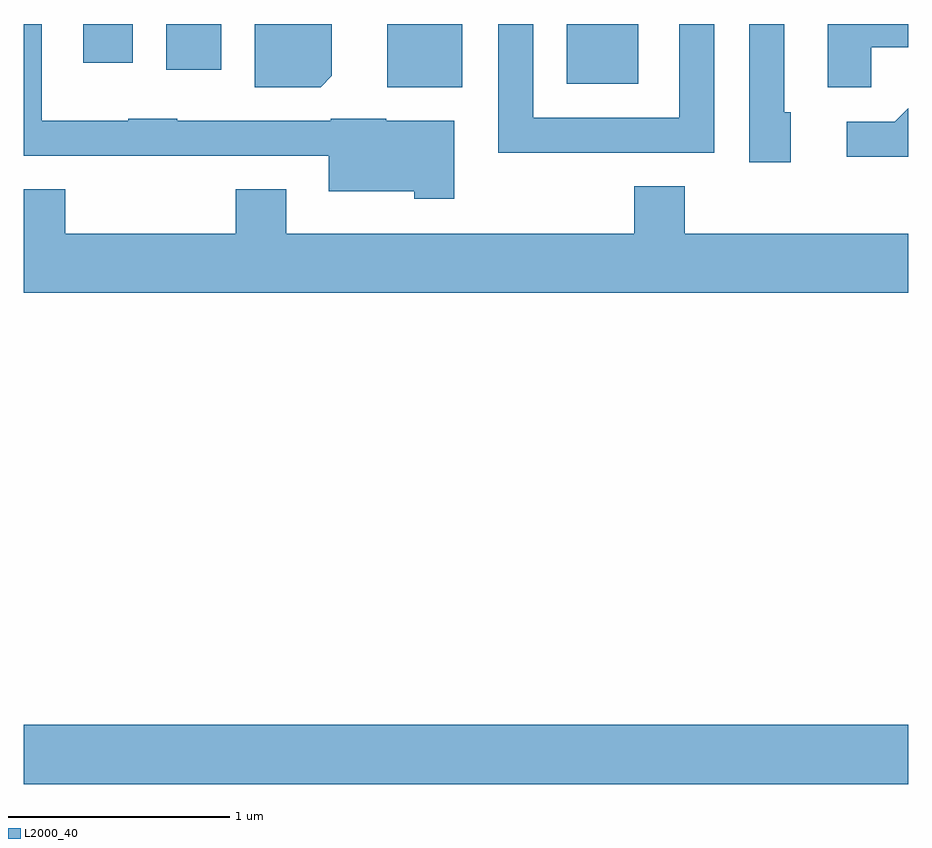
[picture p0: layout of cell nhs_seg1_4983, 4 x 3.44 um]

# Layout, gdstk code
import gdstk
lib = gdstk.Library(unit=1e-6, precision=1e-09)
def R(c, l, rs):  # rectangles x0, y0, x1, y1
    for r in rs: c.add(gdstk.rectangle(r[:2], r[2:], *l))
def P(c, l, *ps):  # polygons
    for p in ps: c.add(gdstk.Polygon(p, *l))
L2000_40 = (2000, 40)

nhs_seg1_4983 = lib.new_cell('nhs_seg1_4983')
R(nhs_seg1_4983, L2000_40, [(335.611,866.276,339.611,866.544), (337.256,869.426,337.594,869.712), (338.066,869.441,338.389,869.712), (336.256,869.506,336.504,869.712), (335.881,869.536,336.104,869.712)])
P(nhs_seg1_4983, L2000_40, [(339.079,869.314),(339.049,869.314),(339.049,869.712),(338.891,869.712),(338.891,869.086),(339.079,869.086)],
  [(339.444,869.606),(339.611,869.606),(339.611,869.712),(339.246,869.712),(339.246,869.426),(339.444,869.426)],
  [(337.559,869.274),(337.25,869.274),(337.25,869.284),(337,869.284),(337,869.274),(336.305,869.274),(336.305,869.284),(336.085,869.284),(336.085,869.274),(335.694,869.274),(335.694,869.712),(335.611,869.712),(335.611,869.116),(336.991,869.116),(336.991,868.956),(337.376,868.956),(337.376,868.921),(337.559,868.921)],
  [(338.734,869.712),(338.576,869.712),(338.576,869.289),(337.914,869.289),(337.914,869.712),(337.756,869.712),(337.756,869.131),(338.734,869.131)],
  [(337.004,869.477),(337.004,869.712),(336.656,869.712),(336.656,869.426),(336.954,869.426)],
  [(339.611,869.331),(339.549,869.269),(339.333,869.269),(339.333,869.111),(339.611,869.111)],
  [(339.611,868.764),(338.599,868.764),(338.599,868.979),(338.371,868.979),(338.371,868.764),(336.799,868.764),(336.799,868.964),(336.571,868.964),(336.571,868.764),(335.799,868.764),(335.799,868.964),(335.611,868.964),(335.611,868.496),(339.611,868.496)])

lib.write_gds('nhs_seg1_4983.gds')
